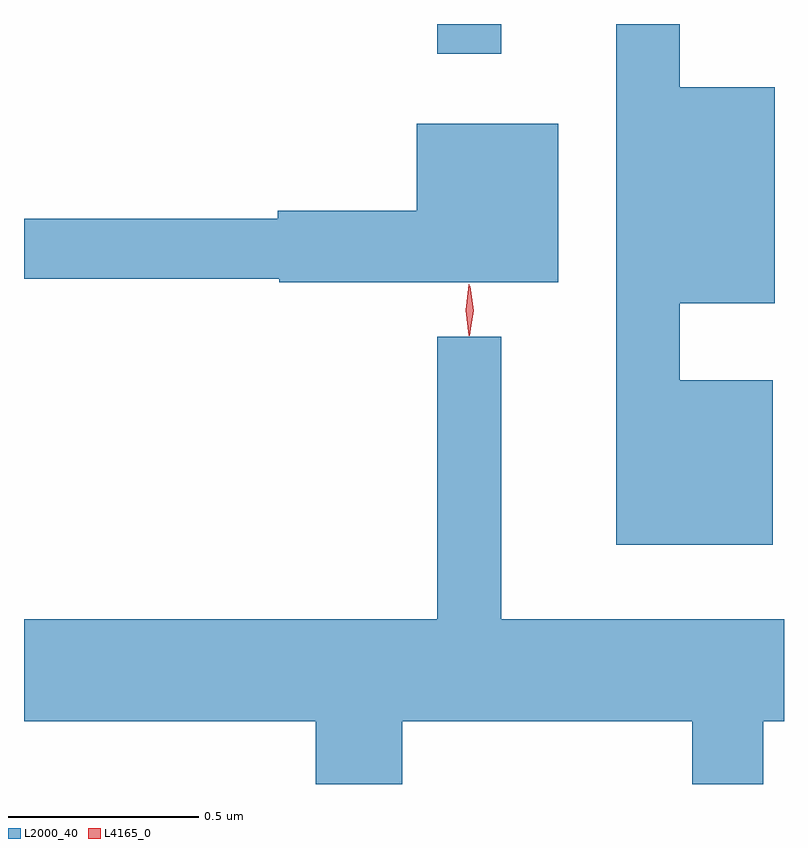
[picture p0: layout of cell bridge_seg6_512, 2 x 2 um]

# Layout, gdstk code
import gdstk
lib = gdstk.Library(unit=1e-6, precision=1e-09)
def R(c, l, rs):  # rectangles x0, y0, x1, y1
    for r in rs: c.add(gdstk.rectangle(r[:2], r[2:], *l))
def P(c, l, *ps):  # polygons
    for p in ps: c.add(gdstk.Polygon(p, *l))
L2000_40 = (2000, 40)
L4165_0 = (4165, 0)

bridge_seg6_512 = lib.new_cell('bridge_seg6_512')
R(bridge_seg6_512, L2000_40, [(685.621,1591.753,685.789,1591.831)])
P(bridge_seg6_512, L2000_40, [(686.504,1590.894),(686.259,1590.894),(686.259,1591.096),(686.509,1591.096),(686.509,1591.664),(686.259,1591.664),(686.259,1591.831),(686.091,1591.831),(686.091,1590.461),(686.504,1590.461)],
  [(685.939,1591.569),(685.566,1591.569),(685.566,1591.339),(685.201,1591.339),(685.201,1591.319),(684.533,1591.319),(684.533,1591.161),(685.205,1591.161),(685.205,1591.151),(685.939,1591.151)],
  [(685.529,1589.996),(686.291,1589.996),(686.291,1589.831),(686.479,1589.831),(686.479,1589.996),(686.533,1589.996),(686.533,1590.264),(685.789,1590.264),(685.789,1591.008),(685.621,1591.008),(685.621,1590.264),(684.533,1590.264),(684.533,1589.996),(685.301,1589.996),(685.301,1589.831),(685.529,1589.831)])
P(bridge_seg6_512, L4165_0, [(685.704,1591.01),(685.695,1591.078),(685.704,1591.146),(685.704,1591.146),(685.705,1591.146),(685.715,1591.078),(685.706,1591.01),(685.705,1591.01)],
  [(685.704,1591.013),(685.696,1591.077),(685.706,1591.141),(685.706,1591.141),(685.707,1591.141),(685.716,1591.077),(685.706,1591.013),(685.705,1591.013)])

lib.write_gds('bridge_seg6_512.gds')
